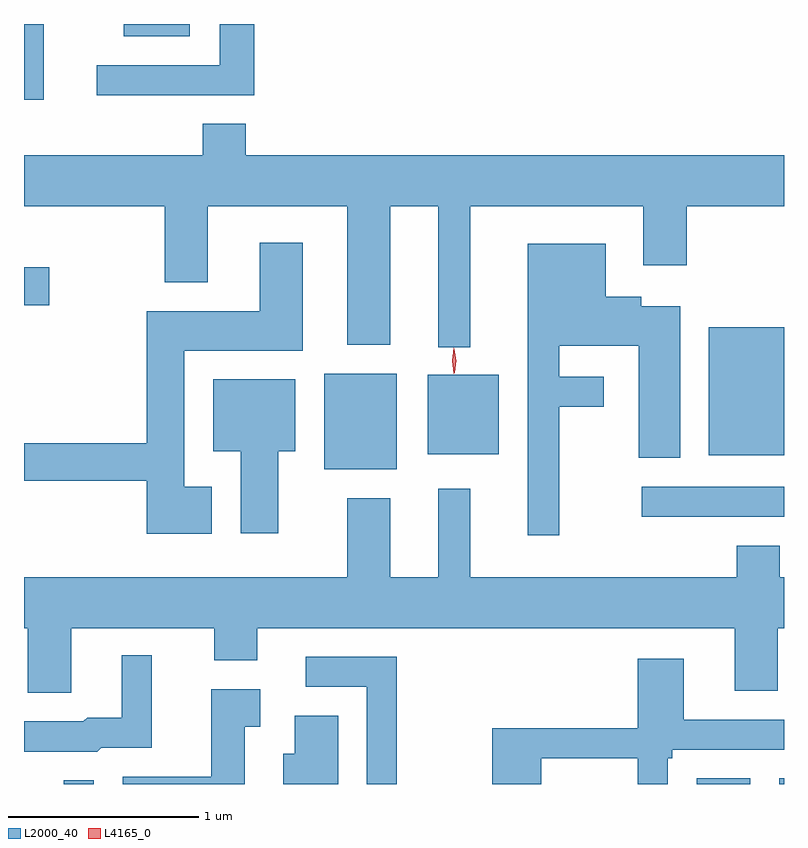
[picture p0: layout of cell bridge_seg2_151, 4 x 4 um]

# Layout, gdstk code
import gdstk
lib = gdstk.Library(unit=1e-6, precision=1e-09)
def R(c, l, rs):  # rectangles x0, y0, x1, y1
    for r in rs: c.add(gdstk.rectangle(r[:2], r[2:], *l))
def P(c, l, *ps):  # polygons
    for p in ps: c.add(gdstk.Polygon(p, *l))
L2000_40 = (2000, 40)
L4165_0 = (4165, 0)

bridge_seg2_151 = lib.new_cell('bridge_seg2_151')
R(bridge_seg2_151, L2000_40, [(1075.481,1085.235,1075.639,1085.254), (1078.811,1085.235,1079.094,1085.264), (1079.246,1085.235,1079.271,1085.264), (1078.523,1086.641,1079.271,1086.799), (1076.851,1086.891,1077.234,1087.394), (1078.876,1086.966,1079.271,1087.639), (1077.396,1086.971,1077.769,1087.389), (1075.271,1087.756,1075.404,1087.954), (1075.271,1088.836,1075.374,1089.235), (1075.796,1089.171,1076.144,1089.235)])
P(bridge_seg2_151, L2000_40, [(1076.484,1089.235),(1076.301,1089.235),(1076.301,1089.019),(1075.653,1089.019),(1075.653,1088.861),(1076.484,1088.861)],
  [(1077.619,1088.276),(1078.531,1088.276),(1078.531,1087.966),(1078.759,1087.966),(1078.759,1088.276),(1079.271,1088.276),(1079.271,1088.544),(1076.439,1088.544),(1076.439,1088.709),(1076.211,1088.709),(1076.211,1088.544),(1075.271,1088.544),(1075.271,1088.276),(1076.011,1088.276),(1076.011,1087.876),(1076.239,1087.876),(1076.239,1088.276),(1076.971,1088.276),(1076.971,1087.546),(1077.199,1087.546),(1077.199,1088.276),(1077.451,1088.276),(1077.451,1087.533),(1077.619,1087.533)],
  [(1076.259,1086.799),(1076.114,1086.799),(1076.114,1087.516),(1076.739,1087.516),(1076.739,1088.084),(1076.511,1088.084),(1076.511,1087.724),(1075.916,1087.724),(1075.916,1087.029),(1075.271,1087.029),(1075.271,1086.831),(1075.916,1086.831),(1075.916,1086.551),(1076.259,1086.551)],
  [(1078.089,1087.221),(1078.323,1087.221),(1078.323,1087.379),(1078.089,1087.379),(1078.089,1087.541),(1078.506,1087.541),(1078.506,1086.951),(1078.724,1086.951),(1078.724,1087.749),(1078.519,1087.749),(1078.519,1087.799),(1078.334,1087.799),(1078.334,1088.079),(1077.921,1088.079),(1077.921,1086.543),(1078.089,1086.543)],
  [(1076.609,1086.986),(1076.699,1086.986),(1076.699,1087.364),(1076.266,1087.364),(1076.266,1086.986),(1076.411,1086.986),(1076.411,1086.556),(1076.609,1086.556)],
  [(1075.519,1086.056),(1076.271,1086.056),(1076.271,1085.886),(1076.499,1085.886),(1076.499,1086.056),(1079.011,1086.056),(1079.011,1085.726),(1079.239,1085.726),(1079.239,1086.056),(1079.271,1086.056),(1079.271,1086.324),(1079.249,1086.324),(1079.249,1086.489),(1079.021,1086.489),(1079.021,1086.324),(1077.619,1086.324),(1077.619,1086.788),(1077.451,1086.788),(1077.451,1086.324),(1077.199,1086.324),(1077.199,1086.739),(1076.971,1086.739),(1076.971,1086.324),(1075.271,1086.324),(1075.271,1086.056),(1075.291,1086.056),(1075.291,1085.716),(1075.519,1085.716)],
  [(1075.677,1085.426),(1075.944,1085.426),(1075.944,1085.913),(1075.786,1085.913),(1075.786,1085.584),(1075.604,1085.584),(1075.584,1085.564),(1075.271,1085.564),(1075.271,1085.406),(1075.657,1085.406)],
  [(1077.234,1085.904),(1076.753,1085.904),(1076.753,1085.746),(1077.076,1085.746),(1077.076,1085.235),(1077.234,1085.235)],
  [(1077.994,1085.371),(1078.501,1085.371),(1078.501,1085.235),(1078.659,1085.235),(1078.659,1085.371),(1078.684,1085.371),(1078.684,1085.416),(1079.271,1085.416),(1079.271,1085.574),(1078.744,1085.574),(1078.744,1085.894),(1078.501,1085.894),(1078.501,1085.529),(1077.736,1085.529),(1077.736,1085.235),(1077.994,1085.235)],
  [(1076.434,1085.536),(1076.514,1085.536),(1076.514,1085.734),(1076.256,1085.734),(1076.256,1085.274),(1075.791,1085.274),(1075.791,1085.235),(1076.434,1085.235)],
  [(1076.924,1085.594),(1076.696,1085.594),(1076.696,1085.394),(1076.636,1085.394),(1076.636,1085.235),(1076.924,1085.235)])
P(bridge_seg2_151, L4165_0, [(1077.533,1087.394),(1077.533,1087.394),(1077.524,1087.462),(1077.533,1087.53),(1077.533,1087.53),(1077.534,1087.53),(1077.543,1087.462),(1077.534,1087.394)],
  [(1077.536,1087.398),(1077.536,1087.399),(1077.526,1087.462),(1077.535,1087.526),(1077.535,1087.527),(1077.536,1087.526),(1077.546,1087.463),(1077.537,1087.399)])

lib.write_gds('bridge_seg2_151.gds')
